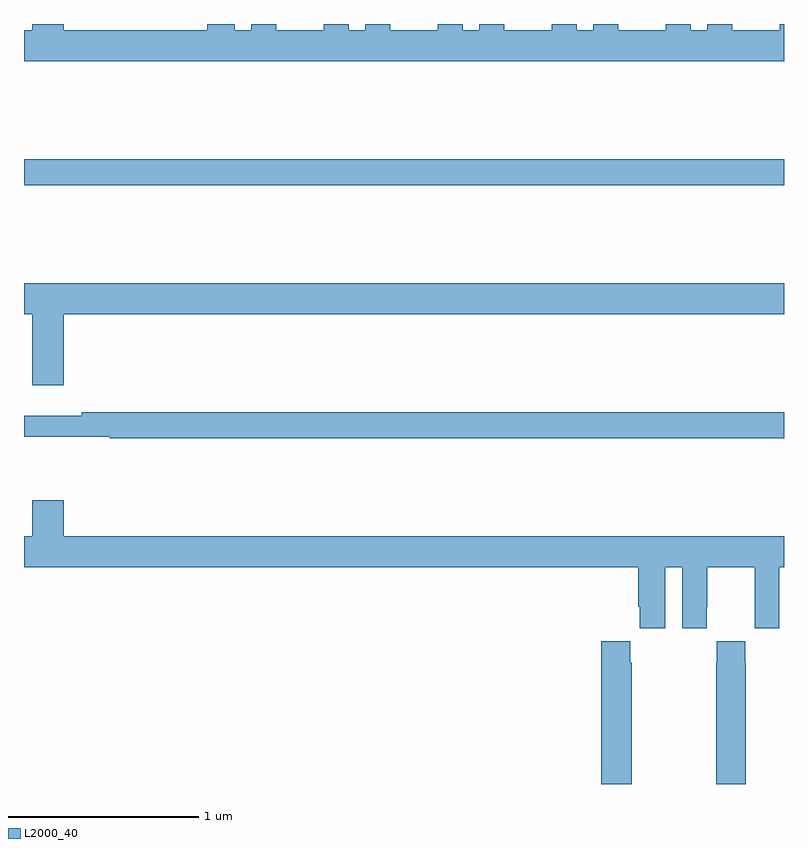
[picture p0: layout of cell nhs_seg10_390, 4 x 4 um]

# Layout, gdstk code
import gdstk
lib = gdstk.Library(unit=1e-6, precision=1e-09)
def R(c, l, rs):  # rectangles x0, y0, x1, y1
    for r in rs: c.add(gdstk.rectangle(r[:2], r[2:], *l))
def P(c, l, *ps):  # polygons
    for p in ps: c.add(gdstk.Polygon(p, *l))
L2000_40 = (2000, 40)

nhs_seg10_390 = lib.new_cell('nhs_seg10_390')
R(nhs_seg10_390, L2000_40, [(129,1311.652,133,1311.788)])
P(nhs_seg10_390, L2000_40, [(133,1312.5),(132.977,1312.5),(132.977,1312.468),(132.727,1312.468),(132.727,1312.5),(132.596,1312.5),(132.596,1312.468),(132.508,1312.468),(132.508,1312.5),(132.377,1312.5),(132.377,1312.468),(132.127,1312.468),(132.127,1312.5),(131.996,1312.5),(131.996,1312.468),(131.908,1312.468),(131.908,1312.5),(131.777,1312.5),(131.777,1312.468),(131.527,1312.468),(131.527,1312.5),(131.396,1312.5),(131.396,1312.468),(131.308,1312.468),(131.308,1312.5),(131.177,1312.5),(131.177,1312.468),(130.927,1312.468),(130.927,1312.5),(130.796,1312.5),(130.796,1312.468),(130.708,1312.468),(130.708,1312.5),(130.577,1312.5),(130.577,1312.468),(130.327,1312.468),(130.327,1312.5),(130.196,1312.5),(130.196,1312.468),(130.108,1312.468),(130.108,1312.5),(129.965,1312.5),(129.965,1312.468),(129.208,1312.468),(129.208,1312.5),(129.044,1312.5),(129.044,1312.468),(129,1312.468),(129,1312.304),(133,1312.304)],
  [(129.208,1310.972),(133,1310.972),(133,1311.136),(129,1311.136),(129,1310.972),(129.044,1310.972),(129.044,1310.598),(129.208,1310.598)],
  [(133,1310.456),(129.304,1310.456),(129.304,1310.437),(129,1310.437),(129,1310.328),(129.452,1310.328),(129.452,1310.32),(133,1310.32)],
  [(132.376,1309.64),(132.464,1309.64),(132.464,1309.32),(132.594,1309.32),(132.594,1309.432),(132.595,1309.432),(132.595,1309.64),(132.845,1309.64),(132.845,1309.432),(132.846,1309.432),(132.846,1309.32),(132.976,1309.32),(132.976,1309.64),(133,1309.64),(133,1309.804),(129.208,1309.804),(129.208,1309.993),(129.044,1309.993),(129.044,1309.804),(129,1309.804),(129,1309.64),(132.233,1309.64),(132.233,1309.432),(132.242,1309.432),(132.242,1309.32),(132.376,1309.32)],
  [(132.198,1309.139),(132.191,1309.139),(132.191,1309.252),(132.038,1309.252),(132.038,1308.5),(132.198,1308.5)],
  [(132.798,1309.139),(132.795,1309.139),(132.795,1309.252),(132.645,1309.252),(132.645,1309.139),(132.643,1309.139),(132.643,1308.5),(132.798,1308.5)])

lib.write_gds('nhs_seg10_390.gds')
